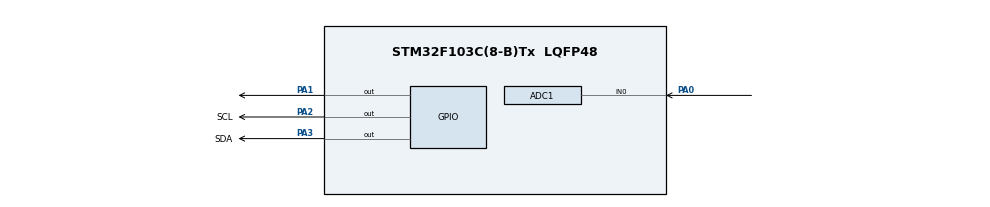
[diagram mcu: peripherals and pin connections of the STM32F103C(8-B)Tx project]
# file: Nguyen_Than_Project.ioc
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ADC1.Channel-0\#ChannelRegularConversion=ADC_CHANNEL_0
ADC1.ContinuousConvMode=ENABLE
ADC1.NbrOfConversionFlag=1
ADC1.Rank-0\#ChannelRegularConversion=1
ADC1.SamplingTime-0\#ChannelRegularConversion=ADC_SAMPLETIME_239CYCLES_5
ADC1.master=1
Mcu.Family=STM32F1
Mcu.Name=STM32F103C(8-B)Tx
Mcu.Package=LQFP48
NVIC.PriorityGroup=NVIC_PRIORITYGROUP_4
PA0-WKUP.Signal=ADCx_IN0
PA1.Signal=GPIO_Output
PA13.Mode=Serial_Wire
PA13.Signal=SYS_JTMS-SWDIO
PA14.Mode=Serial_Wire
PA14.Signal=SYS_JTCK-SWCLK
PA2.GPIO_Label=SCL
PA2.GPIO_ModeDefaultOutputPP=GPIO_MODE_OUTPUT_OD
PA2.GPIO_PuPd=GPIO_PULLUP
PA2.GPIO_Speed=GPIO_SPEED_FREQ_HIGH
PA2.PinState=GPIO_PIN_RESET
PA2.Signal=GPIO_Output
PA3.GPIO_Label=SDA
PA3.GPIO_ModeDefaultOutputPP=GPIO_MODE_OUTPUT_OD
PA3.GPIO_PuPd=GPIO_PULLUP
PA3.GPIO_Speed=GPIO_SPEED_FREQ_HIGH
PA3.PinState=GPIO_PIN_RESET
PA3.Signal=GPIO_Output
ProjectManager.HeapSize=0x200
ProjectManager.StackSize=0x400
ProjectManager.TargetToolchain=MDK-ARM V5.32
RCC.APB1Freq_Value=8000000
RCC.APB2Freq_Value=8000000
SH.ADCx_IN0.0=ADC1_IN0,IN0
board=custom

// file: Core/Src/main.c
/* USER CODE BEGIN Header */
/**
  ******************************************************************************
  * @file           : main.c
  * @brief          : Main program body
  ******************************************************************************
  * @attention
  *
  * Copyright (c) 2025 STMicroelectronics.
  * All rights reserved.
  *
  * This software is licensed under terms that can be found in the LICENSE file
  * in the root directory of this software component.
  * If no LICENSE file comes with this software, it is provided AS-IS.
  *
  ******************************************************************************
  */
/* USER CODE END Header */
#include "main.h"

/* USER CODE BEGIN Includes */
#include "lcd_soft_i2c.h"
#include <stdio.h>
/* USER CODE END Includes */

ADC_HandleTypeDef hadc1;

/* USER CODE BEGIN PV */
I2C_LCD_HandleTypedef lcd;
Soft_I2C_TypeDef i2c;
/* USER CODE END PV */

void SystemClock_Config(void);
static void MX_GPIO_Init(void);
static void MX_ADC1_Init(void);

/* USER CODE BEGIN 0 */
char buff[20];
/* USER CODE END 0 */

int main(void)
{

  /* MCU Configuration--------------------------------------------------------*/

  /* Reset of all peripherals, Initializes the Flash interface and the Systick. */
  HAL_Init();

  /* Configure the system clock */
  SystemClock_Config();

  /* Initialize all configured peripherals */
  MX_GPIO_Init();
  MX_ADC1_Init();
  /* USER CODE BEGIN 2 */
	i2c_soft_init(&i2c, SCL_GPIO_Port, SCL_Pin, SDA_GPIO_Port, SDA_Pin);
	lcd_init(&lcd, &i2c, 0x27);
	lcd_gotoxy(&lcd, 0, 0);
	lcd_send_string(&lcd, "   Temperature  ");
	HAL_GPIO_WritePin(GPIOA, GPIO_PIN_1, GPIO_PIN_RESET);
	HAL_ADC_Start(&hadc1);

  /* USER CODE END 2 */

  /* Infinite loop */
  /* USER CODE BEGIN WHILE */
  while (1)
  {

	  float adc_value = HAL_ADC_GetValue(&hadc1);
	  float voltage = (adc_value * 3.3f) / 4095.0f;
	  float temperature = voltage * 100 - 0.2f;
	  if(temperature >= 40) HAL_GPIO_TogglePin(GPIOA, GPIO_PIN_1);
	  else HAL_GPIO_WritePin(GPIOA, GPIO_PIN_1, GPIO_PIN_RESET);
	  lcd_gotoxy(&lcd, 0, 1);
	  sprintf(buff, "      %4.1f    ", temperature);
	  lcd_send_string(&lcd, buff);
	  HAL_Delay(100);

    /* USER CODE END WHILE */

  }
}

void SystemClock_Config(void)
{
  RCC_OscInitTypeDef RCC_OscInitStruct = {0};
  RCC_ClkInitTypeDef RCC_ClkInitStruct = {0};
  RCC_PeriphCLKInitTypeDef PeriphClkInit = {0};

  /** Initializes the RCC Oscillators according to the specified parameters
  * in the RCC_OscInitTypeDef structure.
  */
  RCC_OscInitStruct.OscillatorType = RCC_OSCILLATORTYPE_HSI;
  RCC_OscInitStruct.HSIState = RCC_HSI_ON;
  RCC_OscInitStruct.HSICalibrationValue = RCC_HSICALIBRATION_DEFAULT;
  RCC_OscInitStruct.PLL.PLLState = RCC_PLL_NONE;
  if (HAL_RCC_OscConfig(&RCC_OscInitStruct) != HAL_OK)
  {
    Error_Handler();
  }

  /** Initializes the CPU, AHB and APB buses clocks
  */
  RCC_ClkInitStruct.ClockType = RCC_CLOCKTYPE_HCLK|RCC_CLOCKTYPE_SYSCLK
                              |RCC_CLOCKTYPE_PCLK1|RCC_CLOCKTYPE_PCLK2;
  RCC_ClkInitStruct.SYSCLKSource = RCC_SYSCLKSOURCE_HSI;
  RCC_ClkInitStruct.AHBCLKDivider = RCC_SYSCLK_DIV1;
  RCC_ClkInitStruct.APB1CLKDivider = RCC_HCLK_DIV1;
  RCC_ClkInitStruct.APB2CLKDivider = RCC_HCLK_DIV1;

  if (HAL_RCC_ClockConfig(&RCC_ClkInitStruct, FLASH_LATENCY_0) != HAL_OK)
  {
    Error_Handler();
  }
  PeriphClkInit.PeriphClockSelection = RCC_PERIPHCLK_ADC;
  PeriphClkInit.AdcClockSelection = RCC_ADCPCLK2_DIV2;
  if (HAL_RCCEx_PeriphCLKConfig(&PeriphClkInit) != HAL_OK)
  {
    Error_Handler();
  }
}

static void MX_ADC1_Init(void)
{

  ADC_ChannelConfTypeDef sConfig = {0};

  /** Common config
  */
  hadc1.Instance = ADC1;
  hadc1.Init.ScanConvMode = ADC_SCAN_DISABLE;
  hadc1.Init.ContinuousConvMode = ENABLE;
  hadc1.Init.DiscontinuousConvMode = DISABLE;
  hadc1.Init.ExternalTrigConv = ADC_SOFTWARE_START;
  hadc1.Init.DataAlign = ADC_DATAALIGN_RIGHT;
  hadc1.Init.NbrOfConversion = 1;
  if (HAL_ADC_Init(&hadc1) != HAL_OK)
  {
    Error_Handler();
  }

  /** Configure Regular Channel
  */
  sConfig.Channel = ADC_CHANNEL_0;
  sConfig.Rank = ADC_REGULAR_RANK_1;
  sConfig.SamplingTime = ADC_SAMPLETIME_239CYCLES_5;
  if (HAL_ADC_ConfigChannel(&hadc1, &sConfig) != HAL_OK)
  {
    Error_Handler();
  }

}

static void MX_GPIO_Init(void)
{
  GPIO_InitTypeDef GPIO_InitStruct = {0};

  /* GPIO Ports Clock Enable */
  __HAL_RCC_GPIOA_CLK_ENABLE();

  /*Configure GPIO pin Output Level */
  HAL_GPIO_WritePin(GPIOA, GPIO_PIN_1|SCL_Pin|SDA_Pin, GPIO_PIN_RESET);

  /*Configure GPIO pin : PA1 */
  GPIO_InitStruct.Pin = GPIO_PIN_1;
  GPIO_InitStruct.Mode = GPIO_MODE_OUTPUT_PP;
  GPIO_InitStruct.Pull = GPIO_NOPULL;
  GPIO_InitStruct.Speed = GPIO_SPEED_FREQ_LOW;
  HAL_GPIO_Init(GPIOA, &GPIO_InitStruct);

  /*Configure GPIO pins : SCL_Pin SDA_Pin */
  GPIO_InitStruct.Pin = SCL_Pin|SDA_Pin;
  GPIO_InitStruct.Mode = GPIO_MODE_OUTPUT_OD;
  GPIO_InitStruct.Pull = GPIO_PULLUP;
  GPIO_InitStruct.Speed = GPIO_SPEED_FREQ_HIGH;
  HAL_GPIO_Init(GPIOA, &GPIO_InitStruct);

}

void Error_Handler(void)
{
  __disable_irq();
  while (1)
  {
  }
}
